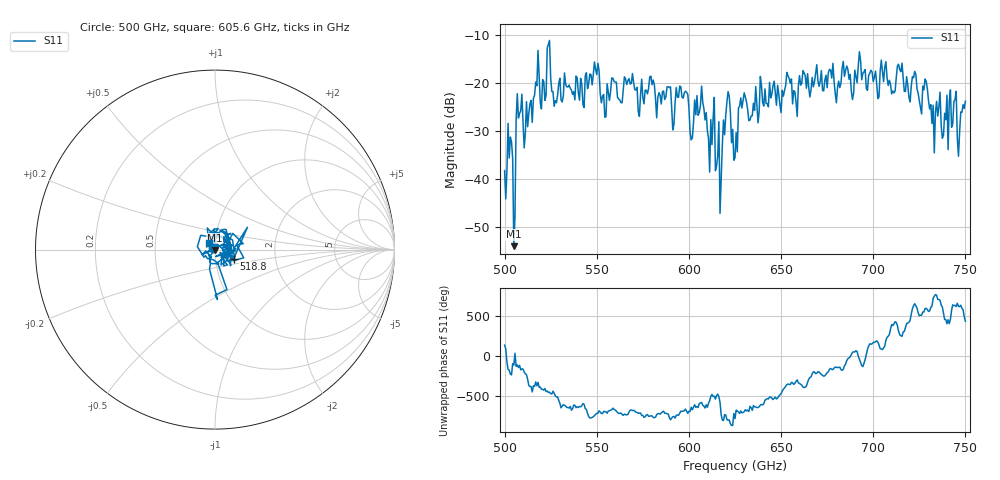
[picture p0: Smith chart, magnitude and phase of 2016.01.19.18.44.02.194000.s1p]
!Created with skrf (http://scikit-rf.org).
# GHz S RI R 50.0
!freq ReS11 ImS11
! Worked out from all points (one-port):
!   401 points, 500 GHz to 750 GHz, reference 50 ohm
!   lowest |S11| = -54.0 dB at 505 GHz (marker M1), VSWR 1.00, Z = 49.9 - j0.187 ohm
!   |S11| at or under -10 dB: start of sweep to end of sweep
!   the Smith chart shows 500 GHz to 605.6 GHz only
!   S11 on the Smith chart (normalised r, x): 500 GHz: 0.98, +0.02; 518.8 GHz: 1.23, -0.12; 605.6 GHz: 0.93, +0.07
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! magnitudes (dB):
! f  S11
! 500 GHz  -38.3
! 503.1 GHz  -31.3
! 505 GHz  -54.0
! 508.1 GHz  -26.3
! 511.2 GHz  -30.4
! 518.8 GHz  -18.7
! 524.4 GHz  -11.1
! 526.9 GHz  -24.8
! 531.2 GHz  -23.9
! 550 GHz  -18.2
! 553.8 GHz  -22.4
! 559.4 GHz  -19.6
! 562.5 GHz  -23.5
! 593.8 GHz  -22.9
! 601.2 GHz  -31.8
! 605.6 GHz  -26.1
! 616.2 GHz  -28.0
! 621.2 GHz  -21.8
! 625 GHz  -35.6
! 629.4 GHz  -23.6
! 656.2 GHz  -24.3
! 687.5 GHz  -18.2
! 710.6 GHz  -21.6
! 714.4 GHz  -17.2
! 718.8 GHz  -20.5
! 728.1 GHz  -19.1
! 738.1 GHz  -30.9
! 750 GHz  -23.8
